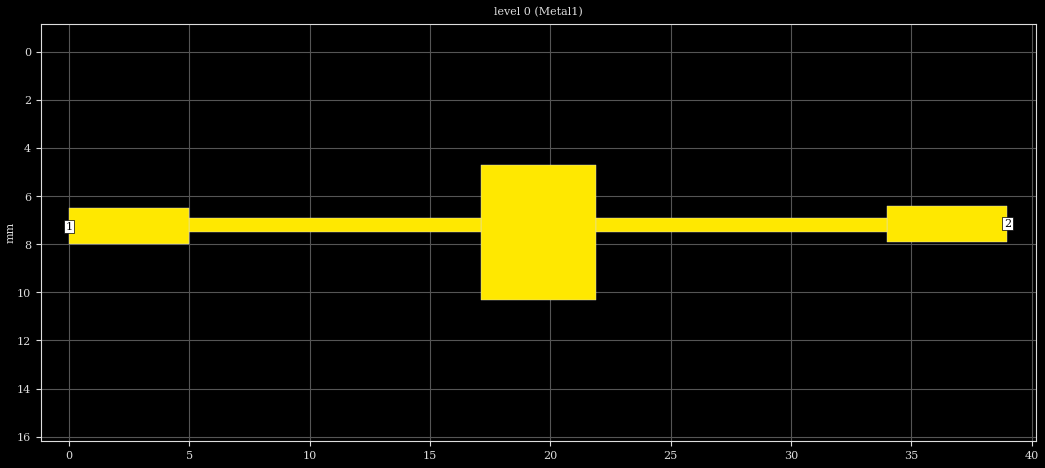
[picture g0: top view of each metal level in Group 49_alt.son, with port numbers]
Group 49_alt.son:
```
FTYP SONPROJ 19 ! Sonnet Project File
VER 18.53
HEADER
LIC SL632947bb
DAT 11/15/2022 17:59:55
BUILT_BY_CREATED xgeom 18.53-Lite 10/18/2022 17:53:11
BUILT_BY_SAVED sonnet 18.53-Lite
MDATE 11/15/2022 17:58:58
HDATE 11/15/2022 17:58:58
END HEADER
DIM
ANG DEG
CAP PF
CON /OH
FREQ GHZ
IND NH
LNG MM
RES OH
END DIM
CONTROL
VARSWP
OPTIONS  -d
SPEED 0
CACHE_ABS 2
Q_ACC N
END CONTROL
GEO
TMET "Lossless" 0 SUP 0 0 0 0
BMET "Lossless" 0 SUP 0 0 0 0
MET "Copper" 1 NOR 58000000 0.5 0.000889 
MET "Copper1" 2 NOR 58000000 0.5 0.0375 
BOX 1 39 15 780 300 20 0
      8 1 1 0 0 0 0 "Air"
      0.8 4.4 1 0.02 0 0 0 "FR-4"
TECHLAY METAL Metal1 <UNSPECIFIED> -2 -65534 
0 0 1 N 221 1 1 100 100 0 0 0 Y
END
END
DIM STD YDIR 1
POS 0.1579711051 0.2799815498
NOM 5.6
REF1 POLY 136 1
1
REF2 POLY 136 1
0
END
DIM STD XDIR 1
POS 1.195670461 0.3086590781
NOM 4.8
REF1 POLY 136 1
1
REF2 POLY 136 1
2
END
DIM STD YDIR -1
POS 0.3957971105 -1.665262837
NOM 0.6
REF1 POLY 138 1
0
REF2 POLY 138 1
1
END
DIM STD XDIR 1
POS 5.194556414 0.2469744825
NOM 12.1
REF1 POLY 138 1
1
REF2 POLY 138 1
2
END
DIM STD YDIR -1
POS 0.3957971105 -1.665262837
NOM 0.6
REF1 POLY 210 1
0
REF2 POLY 210 1
1
END
DIM STD XDIR 1
POS 7.594556414 0.8469744825
NOM 12.1
REF1 POLY 210 1
1
REF2 POLY 210 1
2
END
LORGN 0 15 U 
POR1 BOX
POLY 184 1
3
1 50 0 0 0 0 7.25 
POR1 BOX
POLY 185 1
1
2 50 0 0 0 39 7.15 
NUM 5
0 5 1 N 136 1 1 100 100 0 0 0 Y
TLAYNAM Metal1 INH
17.1 10.3
17.1 4.7
21.9 4.7
21.9 10.3
17.1 10.3
END
0 5 1 N 138 1 1 100 100 0 0 0 Y
TLAYNAM Metal1 INH
5 7.5
5 6.9
17.1 6.9
17.1 7.5
5 7.5
END
0 5 1 N 184 1 1 100 100 0 0 0 Y
TLAYNAM Metal1 INH
0 6.5
5 6.5
5 8
0 8
0 6.5
END
0 5 1 N 185 1 1 100 100 0 0 0 Y
TLAYNAM Metal1 INH
34 6.4
39 6.4
39 7.9
34 7.9
34 6.4
END
0 5 1 N 210 1 1 100 100 0 0 0 Y
TLAYNAM Metal1 INH
21.9 7.5
21.9 6.9
34 6.9
34 7.5
21.9 7.5
END
END GEO
OPT
MAX 100
END OPT
VARSWP
ENABLED Y
FREQ Y AY ABS_ENTRY 1.0 5.0 -1 300 
END
END VARSWP
```
